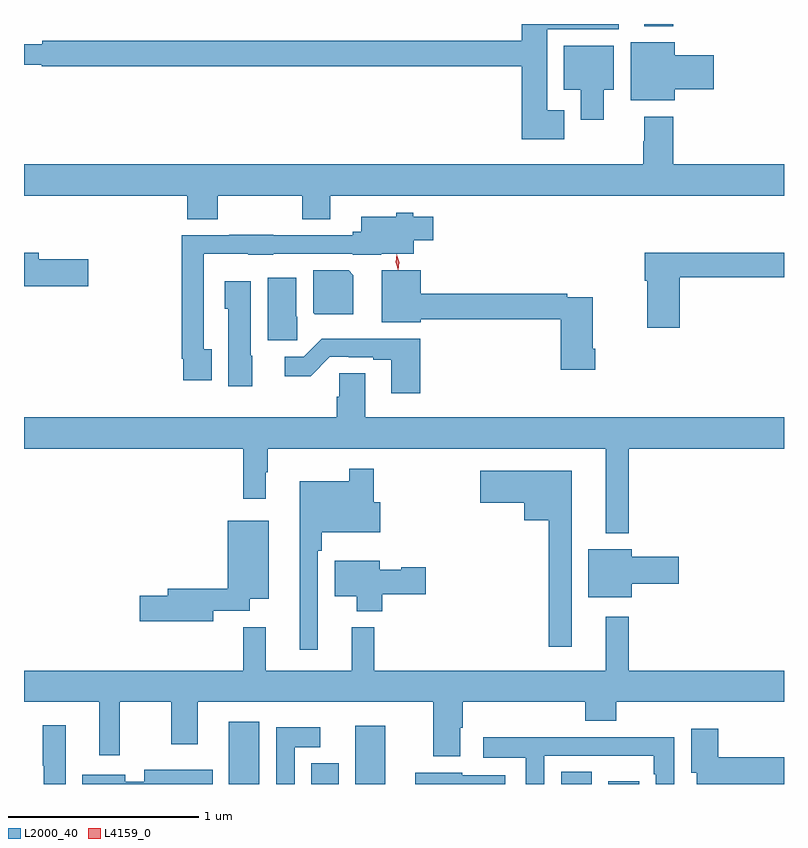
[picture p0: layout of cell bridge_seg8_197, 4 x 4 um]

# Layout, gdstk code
import gdstk
lib = gdstk.Library(unit=1e-6, precision=1e-09)
def R(c, l, rs):  # rectangles x0, y0, x1, y1
    for r in rs: c.add(gdstk.rectangle(r[:2], r[2:], *l))
def P(c, l, *ps):  # polygons
    for p in ps: c.add(gdstk.Polygon(p, *l))
L2000_40 = (2000, 40)
L4159_0 = (4159, 0)

bridge_seg8_197 = lib.new_cell('bridge_seg8_197')
R(bridge_seg8_197, L2000_40, [(250.166,1088.095,250.327,1088.422), (250.601,1088.095,250.744,1088.203), (250.832,1088.095,250.99,1088.401), (251.915,1088.095,252.076,1088.159), (252.164,1088.095,252.325,1088.11), (252.353,1092.083,252.506,1092.095)])
P(bridge_seg8_197, L2000_40, [(251.932,1091.641),(251.842,1091.641),(251.842,1092.068),(252.217,1092.068),(252.217,1092.095),(251.708,1092.095),(251.708,1092.008),(249.184,1092.008),(249.184,1091.989),(249.088,1091.989),(249.088,1091.88),(249.182,1091.88),(249.182,1091.872),(251.708,1091.872),(251.708,1091.489),(251.932,1091.489)],
  [(252.514,1091.752),(252.718,1091.752),(252.718,1091.93),(252.514,1091.93),(252.514,1091.998),(252.281,1091.998),(252.281,1091.693),(252.514,1091.693)],
  [(252.139,1091.75),(252.193,1091.75),(252.193,1091.98),(251.93,1091.98),(251.93,1091.75),(252.017,1091.75),(252.017,1091.592),(252.139,1091.592)],
  [(250.107,1091.192),(250.552,1091.192),(250.552,1091.068),(250.699,1091.068),(250.699,1091.192),(253.088,1091.192),(253.088,1091.356),(252.506,1091.356),(252.506,1091.608),(252.353,1091.608),(252.353,1091.477),(252.346,1091.477),(252.346,1091.356),(249.088,1091.356),(249.088,1091.192),(249.947,1091.192),(249.947,1091.068),(250.107,1091.068)],
  [(250.075,1090.382),(250.035,1090.382),(250.035,1090.886),(250.269,1090.886),(250.269,1090.88),(250.401,1090.88),(250.401,1090.887),(250.818,1090.887),(250.818,1090.88),(250.968,1090.88),(250.968,1090.886),(251.14,1090.886),(251.14,1090.958),(251.242,1090.958),(251.242,1091.08),(251.136,1091.08),(251.136,1091.101),(251.046,1091.101),(251.046,1091.08),(250.862,1091.08),(250.862,1091.002),(250.818,1091.002),(250.818,1090.983),(250.401,1090.983),(250.401,1090.985),(250.169,1090.985),(250.169,1090.983),(249.919,1090.983),(249.919,1090.333),(249.927,1090.333),(249.927,1090.221),(250.075,1090.221)],
  [(252.539,1090.762),(253.088,1090.762),(253.088,1090.891),(252.356,1090.891),(252.356,1090.745),(252.368,1090.745),(252.368,1090.497),(252.539,1090.497)],
  [(249.427,1090.857),(249.166,1090.857),(249.166,1090.891),(249.088,1090.891),(249.088,1090.715),(249.427,1090.715)],
  [(252.095,1090.387),(252.082,1090.387),(252.082,1090.656),(251.948,1090.656),(251.948,1090.676),(251.176,1090.676),(251.176,1090.798),(250.97,1090.798),(250.97,1090.526),(251.176,1090.526),(251.176,1090.54),(251.912,1090.54),(251.912,1090.275),(252.095,1090.275)],
  [(250.822,1090.772),(250.796,1090.798),(250.61,1090.798),(250.61,1090.576),(250.618,1090.568),(250.822,1090.568)],
  [(250.526,1090.554),(250.522,1090.554),(250.522,1090.759),(250.37,1090.759),(250.37,1090.431),(250.526,1090.431)],
  [(250.288,1090.35),(250.282,1090.35),(250.282,1090.741),(250.145,1090.741),(250.145,1090.596),(250.163,1090.596),(250.163,1090.188),(250.288,1090.188)],
  [(251.174,1090.439),(250.655,1090.439),(250.56,1090.344),(250.461,1090.344),(250.461,1090.242),(250.596,1090.242),(250.698,1090.344),(250.798,1090.344),(250.798,1090.341),(250.925,1090.341),(250.925,1090.329),(251.021,1090.329),(251.021,1090.152),(251.174,1090.152)],
  [(252.271,1089.86),(253.088,1089.86),(253.088,1090.024),(250.885,1090.024),(250.885,1090.256),(250.746,1090.256),(250.746,1090.134),(250.733,1090.134),(250.733,1090.024),(249.088,1090.024),(249.088,1089.86),(250.243,1089.86),(250.243,1089.597),(250.36,1089.597),(250.36,1089.737),(250.372,1089.737),(250.372,1089.86),(252.149,1089.86),(252.149,1089.416),(252.271,1089.416)],
  [(250.635,1089.323),(250.655,1089.323),(250.655,1089.419),(250.963,1089.419),(250.963,1089.577),(250.928,1089.577),(250.928,1089.754),(250.8,1089.754),(250.8,1089.688),(250.538,1089.688),(250.538,1088.802),(250.635,1088.802)],
  [(251.971,1089.745),(251.49,1089.745),(251.49,1089.575),(251.72,1089.575),(251.72,1089.482),(251.85,1089.482),(251.85,1088.817),(251.971,1088.817)],
  [(250.084,1089.006),(250.276,1089.006),(250.276,1089.071),(250.375,1089.071),(250.375,1089.481),(250.16,1089.481),(250.16,1089.122),(249.845,1089.122),(249.845,1089.086),(249.696,1089.086),(249.696,1088.951),(250.084,1088.951)],
  [(252.286,1089.148),(252.535,1089.148),(252.535,1089.29),(252.286,1089.29),(252.286,1089.331),(252.059,1089.331),(252.059,1089.077),(252.286,1089.077)],
  [(250.973,1089.094),(251.203,1089.094),(251.203,1089.236),(251.073,1089.236),(251.073,1089.223),(250.96,1089.223),(250.96,1089.271),(250.724,1089.271),(250.724,1089.083),(250.838,1089.083),(250.838,1089.005),(250.973,1089.005)],
  [(251.383,1088.39),(251.396,1088.39),(251.396,1088.528),(252.041,1088.528),(252.041,1088.429),(252.206,1088.429),(252.206,1088.528),(253.088,1088.528),(253.088,1088.692),(252.271,1088.692),(252.271,1088.974),(252.149,1088.974),(252.149,1088.692),(250.931,1088.692),(250.931,1088.92),(250.814,1088.92),(250.814,1088.692),(250.361,1088.692),(250.361,1088.921),(250.243,1088.921),(250.243,1088.692),(249.088,1088.692),(249.088,1088.528),(249.485,1088.528),(249.485,1088.247),(249.592,1088.247),(249.592,1088.528),(249.863,1088.528),(249.863,1088.304),(250.003,1088.304),(250.003,1088.528),(251.243,1088.528),(251.243,1088.24),(251.383,1088.24)],
  [(249.307,1088.404),(249.186,1088.404),(249.186,1088.191),(249.193,1088.191),(249.193,1088.095),(249.307,1088.095)],
  [(250.512,1088.288),(250.648,1088.288),(250.648,1088.395),(250.416,1088.395),(250.416,1088.095),(250.512,1088.095)],
  [(253.088,1088.235),(252.743,1088.235),(252.743,1088.386),(252.599,1088.386),(252.599,1088.153),(252.629,1088.153),(252.629,1088.095),(253.088,1088.095)],
  [(251.826,1088.244),(252.172,1088.244),(252.172,1088.243),(252.402,1088.243),(252.402,1088.147),(252.414,1088.147),(252.414,1088.095),(252.51,1088.095),(252.51,1088.342),(252.289,1088.342),(252.289,1088.34),(251.923,1088.34),(251.923,1088.342),(251.505,1088.342),(251.505,1088.234),(251.73,1088.234),(251.73,1088.095),(251.826,1088.095)],
  [(250.081,1088.17),(249.722,1088.17),(249.722,1088.106),(249.622,1088.106),(249.622,1088.143),(249.395,1088.143),(249.395,1088.095),(250.081,1088.095)],
  [(251.62,1088.14),(251.394,1088.14),(251.394,1088.155),(251.147,1088.155),(251.147,1088.095),(251.62,1088.095)])
P(bridge_seg8_197, L4159_0, [(251.058,1090.8),(251.058,1090.8),(251.044,1090.84),(251.05,1090.881),(251.051,1090.882),(251.051,1090.881),(251.064,1090.841),(251.058,1090.8)])

lib.write_gds('bridge_seg8_197.gds')
